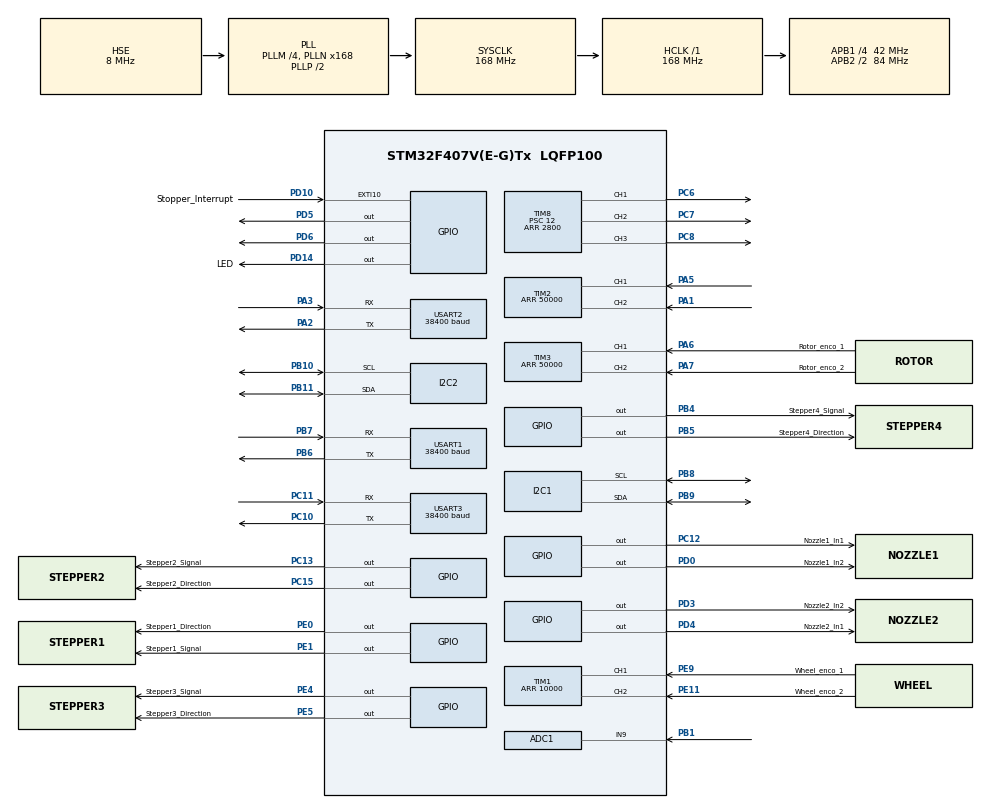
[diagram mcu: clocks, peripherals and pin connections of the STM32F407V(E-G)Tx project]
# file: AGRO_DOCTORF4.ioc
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ADC1.Channel-0\#ChannelRegularConversion=ADC_CHANNEL_9
ADC1.DiscontinuousConvMode=DISABLE
ADC1.NbrOfConversionFlag=1
ADC1.Rank-0\#ChannelRegularConversion=1
ADC1.SamplingTime-0\#ChannelRegularConversion=ADC_SAMPLETIME_3CYCLES
ADC1.master=1
I2C1.I2C_Mode=I2C_Fast
I2C2.I2C_Mode=I2C_Fast
Mcu.Family=STM32F4
Mcu.Name=STM32F407V(E-G)Tx
Mcu.Package=LQFP100
NVIC.ADC_IRQn=true\:0\:0\:false\:false\:true\:true
NVIC.EXTI15_10_IRQn=true\:0\:0\:false\:false\:true\:true
NVIC.PriorityGroup=NVIC_PRIORITYGROUP_4
NVIC.TIM1_BRK_TIM9_IRQn=true\:0\:0\:false\:false\:true\:true
NVIC.TIM1_CC_IRQn=true\:0\:0\:false\:false\:true\:true
NVIC.TIM2_IRQn=true\:0\:0\:false\:false\:true\:true
NVIC.TIM3_IRQn=true\:0\:0\:false\:false\:true\:true
NVIC.TIM4_IRQn=true\:0\:0\:false\:false\:true\:true
NVIC.TIM5_IRQn=true\:0\:0\:false\:false\:true\:true
NVIC.USART1_IRQn=true\:0\:0\:false\:false\:true\:true
NVIC.USART2_IRQn=true\:0\:0\:false\:false\:true\:true
NVIC.USART3_IRQn=true\:0\:0\:false\:false\:true\:true
PA1.Signal=S_TIM2_CH2
PA2.Mode=Asynchronous
PA2.Signal=USART2_TX
PA3.Mode=Asynchronous
PA3.Signal=USART2_RX
PA5.Signal=S_TIM2_CH1_ETR
PA6.GPIO_Label=Rotor_enco_1
PA6.Signal=S_TIM3_CH1
PA7.GPIO_Label=Rotor_enco_2
PA7.Signal=S_TIM3_CH2
PB1.Signal=ADCx_IN9
PB10.Mode=I2C
PB10.Signal=I2C2_SCL
PB11.Mode=I2C
PB11.Signal=I2C2_SDA
PB4.GPIO_Label=Stepper4_Signal
PB4.Signal=GPIO_Output
PB5.GPIO_Label=Stepper4_Direction
PB5.Signal=GPIO_Output
PB6.Mode=Asynchronous
PB6.Signal=USART1_TX
PB7.Mode=Asynchronous
PB7.Signal=USART1_RX
PB8.Mode=I2C
PB8.Signal=I2C1_SCL
PB9.Mode=I2C
PB9.Signal=I2C1_SDA
PC10.Mode=Asynchronous
PC10.Signal=USART3_TX
PC11.Mode=Asynchronous
PC11.Signal=USART3_RX
PC12.GPIO_Label=Nozzle1_In1
PC12.Signal=GPIO_Output
PC13-ANTI_TAMP.GPIO_Label=Stepper2_Signal
PC13-ANTI_TAMP.Signal=GPIO_Output
PC15-OSC32_OUT.GPIO_Label=Stepper2_Direction
PC15-OSC32_OUT.Signal=GPIO_Output
PC6.Signal=S_TIM8_CH1
PC7.Signal=S_TIM8_CH2
PC8.Signal=S_TIM8_CH3
PD0.GPIO_Label=Nozzle1_In2
PD0.Signal=GPIO_Output
PD10.GPIO_Label=Stopper_Interrupt
PD10.GPIO_ModeDefaultEXTI=GPIO_MODE_IT_RISING
PD10.Signal=GPXTI10
PD14.GPIO_Label=LED
PD14.Signal=GPIO_Output
PD3.GPIO_Label=Nozzle2_In2
PD3.Signal=GPIO_Output
PD4.GPIO_Label=Nozzle2_In1
PD4.Signal=GPIO_Output
PD5.Signal=GPIO_Output
PD6.Signal=GPIO_Output
PE0.GPIO_Label=Stepper1_Direction
PE0.Signal=GPIO_Output
PE1.GPIO_Label=Stepper1_Signal
PE1.Signal=GPIO_Output
PE11.GPIO_Label=Wheel_enco_2
PE11.GPIO_PuPd=GPIO_PULLDOWN
PE11.Signal=S_TIM1_CH2
PE4.GPIO_Label=Stepper3_Signal
PE4.Signal=GPIO_Output
PE5.GPIO_Label=Stepper3_Direction
PE5.Signal=GPIO_Output
PE9.GPIO_Label=Wheel_enco_1
PE9.GPIO_PuPd=GPIO_PULLDOWN
PE9.Signal=S_TIM1_CH1
PH0-OSC_IN.Mode=HSE-External-Oscillator
PH0-OSC_IN.Signal=RCC_OSC_IN
PH1-OSC_OUT.Mode=HSE-External-Oscillator
PH1-OSC_OUT.Signal=RCC_OSC_OUT
ProjectManager.HeapSize=0x200
ProjectManager.StackSize=0x400
ProjectManager.TargetToolchain=MDK-ARM V5
RCC.48MHZClocksFreq_Value=84000000
RCC.AHBFreq_Value=168000000
RCC.APB1CLKDivider=RCC_HCLK_DIV4
RCC.APB1Freq_Value=42000000
RCC.APB1TimFreq_Value=84000000
RCC.APB2CLKDivider=RCC_HCLK_DIV2
RCC.APB2Freq_Value=84000000
RCC.APB2TimFreq_Value=168000000
RCC.CortexFreq_Value=168000000
RCC.HCLKFreq_Value=168000000
RCC.HSE_VALUE=8000000
RCC.HSI_VALUE=16000000
RCC.LSE_VALUE=32768
RCC.PLLM=4
RCC.PLLN=168
RCC.PLLSourceVirtual=RCC_PLLSOURCE_HSE
RCC.SYSCLKFreq_VALUE=168000000
RCC.SYSCLKSource=RCC_SYSCLKSOURCE_PLLCLK
RCC.VCOOutputFreq_Value=336000000
SH.ADCx_IN9.0=ADC1_IN9,IN9
SH.S_TIM1_CH1.0=TIM1_CH1,Encoder_Interface
SH.S_TIM1_CH2.0=TIM1_CH2,Encoder_Interface
SH.S_TIM2_CH1_ETR.0=TIM2_CH1,Encoder_Interface
SH.S_TIM2_CH2.0=TIM2_CH2,Encoder_Interface
SH.S_TIM3_CH1.0=TIM3_CH1,Encoder_Interface
SH.S_TIM3_CH2.0=TIM3_CH2,Encoder_Interface
SH.S_TIM8_CH1.0=TIM8_CH1,PWM Generation1 CH1
SH.S_TIM8_CH2.0=TIM8_CH2,PWM Generation2 CH2
SH.S_TIM8_CH3.0=TIM8_CH3,PWM Generation3 CH3
TIM1.EncoderMode=TIM_ENCODERMODE_TI12
TIM1.Period=10000
TIM2.EncoderMode=TIM_ENCODERMODE_TI12
TIM2.Period=50000
TIM3.EncoderMode=TIM_ENCODERMODE_TI12
TIM3.Period=50000
TIM4.Period=168
TIM4.Prescaler=10
TIM5.Period=500
TIM5.Prescaler=840
TIM8.Channel-PWM\ Generation1\ CH1=TIM_CHANNEL_1
TIM8.Channel-PWM\ Generation2\ CH2=TIM_CHANNEL_2
TIM8.Channel-PWM\ Generation3\ CH3=TIM_CHANNEL_3
TIM8.Period=2800
TIM8.Prescaler=12
TIM8.Pulse-PWM\ Generation1\ CH1=1400
TIM8.Pulse-PWM\ Generation2\ CH2=1400
TIM8.Pulse-PWM\ Generation3\ CH3=0
TIM9.Period=500
TIM9.Prescaler=1680
USART1.BaudRate=38400
USART1.VirtualMode=VM_ASYNC
USART2.BaudRate=38400
USART2.VirtualMode=VM_ASYNC
USART3.BaudRate=38400
USART3.VirtualMode=VM_ASYNC
VP_TIM4_VS_ClockSourceINT.Mode=Internal
VP_TIM5_VS_ClockSourceINT.Mode=Internal
VP_TIM9_VS_ClockSourceINT.Mode=Internal
board=AGRO_DOCTORF4

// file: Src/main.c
/**
  ******************************************************************************
  * File Name          : main.c
  * Description        : Main program body
  ******************************************************************************
  ** This notice applies to any and all portions of this file
  * that are not between comment pairs USER CODE BEGIN and
  * USER CODE END. Other portions of this file, whether
  * inserted by the user or by software development tools
  * are owned by their respective copyright owners.
  *
  * COPYRIGHT(c) 2019 STMicroelectronics
  *
  * Redistribution and use in source and binary forms, with or without modification,
  * are permitted provided that the following conditions are met:
  *   1. Redistributions of source code must retain the above copyright notice,
  *      this list of conditions and the following disclaimer.
  *   2. Redistributions in binary form must reproduce the above copyright notice,
  *      this list of conditions and the following disclaimer in the documentation
  *      and/or other materials provided with the distribution.
  *   3. Neither the name of STMicroelectronics nor the names of its contributors
  *      may be used to endorse or promote products derived from this software
  *      without specific prior written permission.
  *
  * THIS SOFTWARE IS PROVIDED BY THE COPYRIGHT HOLDERS AND CONTRIBUTORS "AS IS"
  * AND ANY EXPRESS OR IMPLIED WARRANTIES, INCLUDING, BUT NOT LIMITED TO, THE
  * IMPLIED WARRANTIES OF MERCHANTABILITY AND FITNESS FOR A PARTICULAR PURPOSE ARE
  * DISCLAIMED. IN NO EVENT SHALL THE COPYRIGHT HOLDER OR CONTRIBUTORS BE LIABLE
  * FOR ANY DIRECT, INDIRECT, INCIDENTAL, SPECIAL, EXEMPLARY, OR CONSEQUENTIAL
  * DAMAGES (INCLUDING, BUT NOT LIMITED TO, PROCUREMENT OF SUBSTITUTE GOODS OR
  * SERVICES; LOSS OF USE, DATA, OR PROFITS; OR BUSINESS INTERRUPTION) HOWEVER
  * CAUSED AND ON ANY THEORY OF LIABILITY, WHETHER IN CONTRACT, STRICT LIABILITY,
  * OR TORT (INCLUDING NEGLIGENCE OR OTHERWISE) ARISING IN ANY WAY OUT OF THE USE
  * OF THIS SOFTWARE, EVEN IF ADVISED OF THE POSSIBILITY OF SUCH DAMAGE.
  *
  ******************************************************************************
  */

#include "main.h"
#include "stm32f4xx_hal.h"
#include "adc.h"
#include "i2c.h"
#include "tim.h"
#include "usart.h"
#include "gpio.h"

/* USER CODE BEGIN Includes */
#include "Headers.h"

#define RAD_TO_DEG 57.295779513082320876798154814105
#define PI 3.1415926535897932384626433832795

#define mpu1_address 0xD2
#define mpu2_address 0xD0
#define mpu3_address 0xD0

/* USER CODE END Includes */

/* USER CODE BEGIN PV */

/* Private variables ---------------------------------------------------------*/
/*************Initializtions****************/

int nozzle = 0;

	STEPPER Rotor;
	STEPPER Left_Right;
	STEPPER First_Arm;
	STEPPER Second_Arm;

	extern int Calibrated_Angle1 ,Calibrated_Angle2;
	extern int wheel_pid_error;

struct __FILE{

int handle;
};

FILE __stdout;
FILE __stdin;

int fputc(int ch, FILE *f)
{
	ITM_SendChar(ch);
	return(ch);
}

/* USER CODE END PV */

void SystemClock_Config(void);

/* USER CODE BEGIN PFP */
/* Private function prototypes -----------------------------------------------*/

/* USER CODE END PFP */

/* USER CODE BEGIN 0 */

MPU6050 MPU1 = {0xD2, 1};
MPU6050 MPU2 = {0xD0 , 1};

/* USER CODE END 0 */

int main(void)
{

  /* MCU Configuration----------------------------------------------------------*/

  /* Reset of all peripherals, Initializes the Flash interface and the Systick. */
  HAL_Init();

  /* Configure the system clock */
  SystemClock_Config();

  /* Initialize all configured peripherals */
  MX_GPIO_Init();
  MX_USART2_UART_Init();
  MX_I2C2_Init();
  MX_TIM3_Init();
  MX_I2C1_Init();
  MX_USART1_UART_Init();
  MX_USART3_UART_Init();
  MX_TIM4_Init();
  MX_TIM5_Init();
  MX_TIM9_Init();
  MX_TIM8_Init();
  MX_ADC1_Init();
  MX_TIM1_Init();
  MX_TIM2_Init();

  /* USER CODE BEGIN 2 */
/*	HAL_TIM_Base_Start_IT(&htim5);
	HAL_TIM_Base_Start_IT(&htim9);
	HAL_TIM_PWM_Start(&htim8,TIM_CHANNEL_3);
	HAL_ADC_Start_IT(&hadc1);
	//HAL_TIM_Base_Start_IT(&htim6);
	HAL_UART_Receive_IT(&huart2, (uint8_t *)&uart_rx2 ,1 );
	HAL_UART_Receive_IT(&huart3, (uint8_t *)&uart_rx3 ,1 );*/
	TIM1->CNT = 11;
	encoder_reading_wheel = 11;
	HAL_TIM_Encoder_Start_IT(&htim1,TIM_CHANNEL_ALL); 				//Timer1 Encoder for Wheel
	HAL_TIM_Encoder_Start_IT(&htim2,TIM_CHANNEL_ALL);					//Timer2 Encoder for First_Arm
	HAL_TIM_Encoder_Start_IT(&htim3,TIM_CHANNEL_ALL);					//Timer3 Encoder for Second_Arm
	HAL_TIM_Base_Start_IT(&htim4);
	HAL_TIM_Base_Start_IT(&htim5);
	HAL_TIM_PWM_Start(&htim8,TIM_CHANNEL_3);
	HAL_TIM_PWM_Start(&htim8,TIM_CHANNEL_2);
	HAL_TIM_PWM_Start(&htim8,TIM_CHANNEL_1);
	HAL_UART_Receive_IT(&huart3, (uint8_t *)&uart_rx2 ,1 );
	HAL_TIM_Base_Start_IT(&htim9);
  /* USER CODE END 2 */

  /* Infinite loop */
  /* USER CODE BEGIN WHILE */
	HAL_Delay(200);
	MPU6050_Initialize(&MPU1);
	MPU6050_Initialize(&MPU2);
	Initialize_Steppers();
	Initialize_Encoder_Counts();
	Read_Initial_Angles();
	HAL_Delay(200);
	Actual_Angle1 = Calibrated_Angle1;
	Actual_Angle2 = Calibrated_Angle2;

	HAL_Delay(5000);
	Rotor.throttel = 10;
	HAL_Delay(15000);						//wait to base calibration
	Rotor.throttel = 0;

  while (1)
  {
		if(nozzle == 0)
		{
			Nozzle_Off();
		}
		else if (nozzle == 1)
		{
				Nozzle_On();
		}

	 if((fabs(First_Arm.pid_error)<=1) && (fabs(Second_Arm.pid_error) <= 1)&&(wheel_pid_error<=3)&&(calibrated == CALIBRATING))
	 {
		sprintf(tx_data,"1");
		HAL_UART_Transmit(&huart3,(uint8_t*)&tx_data,sizeof(tx_data),10);
		calibrated  = TRUE;
	}
	HAL_UART_Receive_IT(&huart3, (uint8_t *)&uart_rx2 ,1 );
		//sprintf(tx_data,"Angle1: %d , Angle2: %d\r\n",MPU1.Angle , MPU2.Angle);
		//HAL_UART_Transmit(&huart2,(uint8_t*)&tx_data,sizeof(tx_data),0xFFFF);
	//	HAL_UART_Receive_IT(&huart2, (uint8_t *)&uart_rx ,1 );
}
  /* USER CODE END WHILE */

}

/** System Clock Configuration
*/
void SystemClock_Config(void)
{
  RCC_OscInitTypeDef RCC_OscInitStruct;
  RCC_ClkInitTypeDef RCC_ClkInitStruct;

    /**Configure the main internal regulator output voltage
    */
  __HAL_RCC_PWR_CLK_ENABLE();

  __HAL_PWR_VOLTAGESCALING_CONFIG(PWR_REGULATOR_VOLTAGE_SCALE1);

    /**Initializes the CPU, AHB and APB busses clocks
    */
  RCC_OscInitStruct.OscillatorType = RCC_OSCILLATORTYPE_HSE;
  RCC_OscInitStruct.HSEState = RCC_HSE_ON;
  RCC_OscInitStruct.PLL.PLLState = RCC_PLL_ON;
  RCC_OscInitStruct.PLL.PLLSource = RCC_PLLSOURCE_HSE;
  RCC_OscInitStruct.PLL.PLLM = 4;
  RCC_OscInitStruct.PLL.PLLN = 168;
  RCC_OscInitStruct.PLL.PLLP = RCC_PLLP_DIV2;
  RCC_OscInitStruct.PLL.PLLQ = 4;
  if (HAL_RCC_OscConfig(&RCC_OscInitStruct) != HAL_OK)
  {
    _Error_Handler(__FILE__, __LINE__);
  }

    /**Initializes the CPU, AHB and APB busses clocks
    */
  RCC_ClkInitStruct.ClockType = RCC_CLOCKTYPE_HCLK|RCC_CLOCKTYPE_SYSCLK
                              |RCC_CLOCKTYPE_PCLK1|RCC_CLOCKTYPE_PCLK2;
  RCC_ClkInitStruct.SYSCLKSource = RCC_SYSCLKSOURCE_PLLCLK;
  RCC_ClkInitStruct.AHBCLKDivider = RCC_SYSCLK_DIV1;
  RCC_ClkInitStruct.APB1CLKDivider = RCC_HCLK_DIV4;
  RCC_ClkInitStruct.APB2CLKDivider = RCC_HCLK_DIV2;

  if (HAL_RCC_ClockConfig(&RCC_ClkInitStruct, FLASH_LATENCY_5) != HAL_OK)
  {
    _Error_Handler(__FILE__, __LINE__);
  }

    /**Configure the Systick interrupt time
    */
  HAL_SYSTICK_Config(HAL_RCC_GetHCLKFreq()/1000);

    /**Configure the Systick
    */
  HAL_SYSTICK_CLKSourceConfig(SYSTICK_CLKSOURCE_HCLK);

  /* SysTick_IRQn interrupt configuration */
  HAL_NVIC_SetPriority(SysTick_IRQn, 0, 0);
}

/* USER CODE BEGIN 4 */
void HAL_TIM_PeriodElapsedCallback(TIM_HandleTypeDef *htim)
{
	if(htim->Instance == TIM4)			//Stepper_Refresher(20us)
	{
	  Pulse_Width_Calculator(&Rotor);
		Pulse_Width_Calculator(&Left_Right);
		Pulse_Width_Calculator(&First_Arm);
		Pulse_Width_Calculator(&Second_Arm);
	}

	//PID For motor
	if(htim->Instance == TIM5)				//PID Refresher(5ms)
	{
		PID_calculate(&First_Arm,set_arm_first,Actual_Angle1);
		PID_calculate(&Second_Arm,set_arm_second,Actual_Angle2);

		/*******************WHEEL CALCULATIONS**************************/
		_pid = pid(ds, 1000, 0 );

		if (_pid > 0 )
		{
			HAL_GPIO_WritePin(sig_port,sig1,GPIO_PIN_SET);
			HAL_GPIO_WritePin(sig_port,sig2, GPIO_PIN_RESET);
			htim8.Instance->CCR3 = 450;
			HAL_TIM_PWM_Start(&htim8,TIM_CHANNEL_3);
		}
		else if (_pid < 0 )
		{
			HAL_GPIO_WritePin(sig_port,sig1,GPIO_PIN_RESET);
			HAL_GPIO_WritePin(sig_port,sig2, GPIO_PIN_SET);
			htim8.Instance->CCR3 = 450;
			HAL_TIM_PWM_Start(&htim8,TIM_CHANNEL_3);
		}
		else
		{
			HAL_GPIO_WritePin(sig_port,sig1,GPIO_PIN_RESET);
			HAL_GPIO_WritePin(sig_port,sig2, GPIO_PIN_RESET);
			HAL_TIM_PWM_Stop(&htim8,TIM_CHANNEL_3);
		}
		/*******************WHEEL CALCULATIONS**************************/
	}

	if(htim->Instance == TIM9)			//Angle Calculator(5 ms)
	{
	   MPU_SHOW_DATA(&MPU1);			//This will give raw data(CAution!!!!!)
		 MPU_SHOW_DATA(&MPU2);			//This will give raw data(CAution!!!!!)
     MPU1.Angle += MPU1.Gyroscope_Y/100;		//As we require angle in milisecond basis
		 MPU2.Angle += MPU2.Gyroscope_Y/100;		//As we require angle in milisecond basis
		 cal = sqrt(MPU1.Accelerometer_X*MPU1.Accelerometer_X+MPU1.Accelerometer_Y*MPU1.Accelerometer_Y+MPU1.Accelerometer_Z*MPU1.Accelerometer_Z);
		cal1 = sqrt(MPU2.Accelerometer_X*MPU2.Accelerometer_X+MPU2.Accelerometer_Y*MPU2.Accelerometer_Y+MPU2.Accelerometer_Z*MPU2.Accelerometer_Z);
     MPU1.Accel_Angle = asin((float)MPU1.Accelerometer_X/cal)*RAD_TO_DEG;
		 MPU2.Accel_Angle = asin((float)MPU2.Accelerometer_X/cal1)*RAD_TO_DEG;

		if(set_gyro_angle)
		{
	  MPU1.Angle = MPU1.Angle*0.96 +MPU1.Accel_Angle*0.04;
		MPU2.Angle = MPU2.Angle*0.96 +MPU2.Accel_Angle*0.04;
		}
		else
		{
			MPU1.Angle = MPU1.Accel_Angle;
			MPU2.Angle = MPU2.Accel_Angle;
			set_gyro_angle = 1;
		}
	}
}

void HAL_ADC_ConvCpltCallback(ADC_HandleTypeDef* hadc)
{
	  while((HAL_ADC_PollForConversion(&hadc1, 10)) != HAL_OK);
		adc_value = 4095-HAL_ADC_GetValue(&hadc1);
		humid_percentage = adc_value/40.95;
	  HAL_ADC_Start_IT(&hadc1);
}

void HAL_UART_RxCpltCallback(UART_HandleTypeDef *huart)
{
	if(huart->Instance == USART3)
	{
			receive2 = uart_rx2 - 48;
		  if(uart_rx2 == 'p' )				//angle1
			{
				if(receive_buffer2[0] == '-' - 48)
					checker = 1;
				else
					checker = 0;

				for(int i=checker;i<range;i++)
				{
					buff_sum = buff_sum*10 + receive_buffer2[i];
				}
				set_arm_first = buff_sum;
				if(receive_buffer2[0] == '-' - 48)
					set_arm_first = (-1)*set_arm_first;

				buff_sum =0;
				range =0;
				calibrated  =CALIBRATING;
			}

			 else if(uart_rx2 == 'q' )				//angle2
			{
				if(receive_buffer2[0] == '-' - 48)
					checker = 1;
				else
					checker = 0;

				for(int i=checker;i<range;i++)
				{
					buff_sum = buff_sum*10 + receive_buffer2[i];
				}
					set_arm_second = buff_sum;
				if(receive_buffer2[0] == '-' - 48)
					set_arm_second = (-1)*set_arm_second;

				buff_sum =0;
				range =0;
				calibrated  =CALIBRATING;
			}

			else  if(uart_rx2 == 'r' )				//rotor
			{
				if(receive_buffer2[0] == '-' - 48)
					checker = 1;
				else
					checker = 0;

				for(int i=checker;i<range;i++)
				{
					buff_sum = buff_sum*10 + receive_buffer2[i];
				}
				setting = buff_sum;
				if(receive_buffer2[0] == '-' - 48)
					setting = (-1)*setting;

				buff_sum =0;
				range =0;
			}

			else if(uart_rx2 == 'd' )				//distance
			{
				if(receive_buffer2[0] == '-' - 48)
					checker = 1;
				else
					checker = 0;

				for(int i=checker;i<range;i++)
				{
					buff_sum = buff_sum*10 + receive_buffer2[i];
				}
				ds = buff_sum;
				if(receive_buffer2[0] == '-' - 48)
					ds = (-1)*ds;

				buff_sum =0;
				range =0;
				calibrated  =CALIBRATING;
			}

			else if(uart_rx2 == 'o' )				//Nozzle On
			{
				nozzle = 1;
			}
			else if(uart_rx2 == 'f' )			//Nozzle Off
			{
				nozzle = 0;
			}
			else
			{
			  receive_buffer2[range++] = receive2;
			}
				HAL_UART_Receive_IT(&huart3, (uint8_t *)&uart_rx2 ,1 );
	}
}

/* USER CODE END 4 */

void _Error_Handler(char * file, int line)
{
  while(1)
  {
  }
}

/************************ (C) COPYRIGHT STMicroelectronics *****END OF FILE****/
